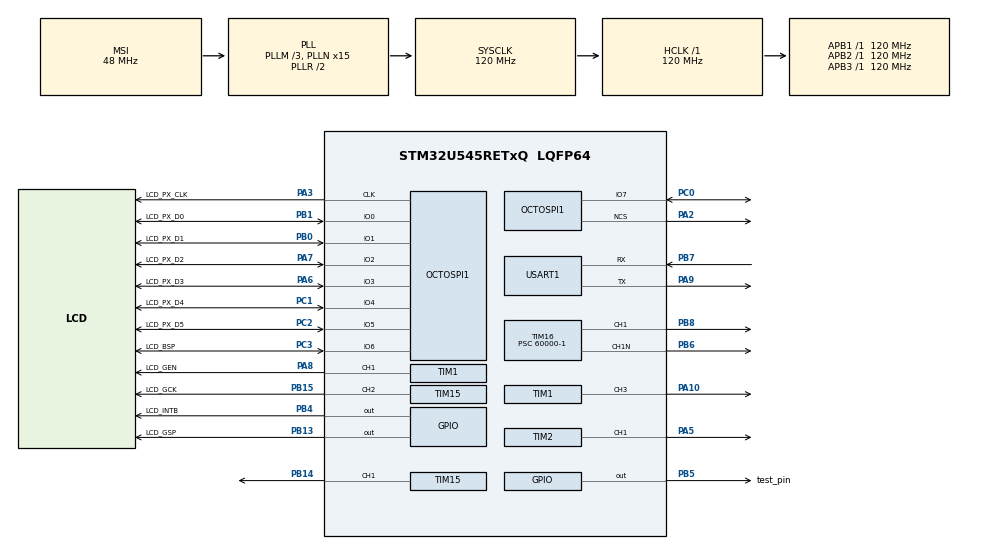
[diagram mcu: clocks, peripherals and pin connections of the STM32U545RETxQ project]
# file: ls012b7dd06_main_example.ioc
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CORTEX_M33_NS.userName=CORTEX_M33
GPDMA1.ADDRESSING2D_GPDMACH12=DISABLE
GPDMA1.DIRECTION_GPDMACH12=DMA_MEMORY_TO_PERIPH
GPDMA1.IPHANDLE_GPDMACH12-SIMPLEREQUEST_GPDMACH12=__NULL
GPDMA1.REPEATCOUNT_GPDMACH12=2
GPDMA1.REQUEST_GPDMACH12=GPDMA1_REQUEST_OCTOSPI1
GPDMA1.SRCINC_GPDMACH12=DMA_SINC_INCREMENTED
GPDMA1.TRIGGERPOLARITY_GPDMACH12=DMA_TRIG_POLARITY_RISING
GPDMA1.TRIGGERSELECTION_GPDMACH12=GPDMA1_TRIGGER_TIM15_TRGO
Mcu.Family=STM32U5
Mcu.Name=STM32U545RETxQ
Mcu.Package=LQFP64
NVIC.GPDMA1_Channel12_IRQn=true\:0\:0\:false\:false\:true\:false\:true\:true
NVIC.OCTOSPI1_IRQn=true\:0\:0\:true\:false\:true\:true\:true\:true
NVIC.PriorityGroup=NVIC_PRIORITYGROUP_4
NVIC.TIM15_IRQn=true\:0\:0\:false\:false\:true\:true\:true\:true
NVIC.TIM1_CC_IRQn=true\:0\:0\:false\:false\:true\:true\:true\:true
NVIC.TIM2_IRQn=true\:0\:0\:false\:false\:true\:true\:true\:true
NVIC.TIM6_IRQn=true\:0\:0\:false\:false\:true\:true\:true\:true
OCTOSPI1.ClockMode=HAL_OSPI_CLOCK_MODE_0
OCTOSPI1.ClockPrescaler=100
OCTOSPI1.DelayHoldQuarterCycle=HAL_OSPI_DHQC_ENABLE
OCTOSPI1.FreeRunningClock=HAL_OSPI_FREERUNCLK_DISABLE
PA10.GPIO_PuPd=GPIO_PULLDOWN
PA10.Signal=S_TIM1_CH3
PA2.GPIO_PuPd=GPIO_PULLDOWN
PA2.Mode=octo_mode
PA2.Signal=OCTOSPI1_NCS
PA3.GPIO_Label=LCD_PX_CLK
PA3.GPIO_PuPd=GPIO_PULLDOWN
PA3.Mode=octo_mode
PA3.Signal=OCTOSPI1_CLK
PA5.GPIO_PuPd=GPIO_PULLDOWN
PA5.Signal=S_TIM2_CH1
PA6.GPIO_Label=LCD_PX_D3
PA6.GPIO_PuPd=GPIO_PULLDOWN
PA6.Mode=octo_mode
PA6.Signal=OCTOSPI1_IO3
PA7.GPIO_Label=LCD_PX_D2
PA7.GPIO_PuPd=GPIO_PULLDOWN
PA7.Mode=octo_mode
PA7.Signal=OCTOSPI1_IO2
PA8.GPIO_Label=LCD_GEN
PA8.GPIO_PuPd=GPIO_PULLDOWN
PA8.Signal=S_TIM1_CH1
PA9.Mode=Asynchronous
PA9.Signal=USART1_TX
PB0.GPIO_Label=LCD_PX_D1
PB0.GPIO_PuPd=GPIO_PULLDOWN
PB0.Mode=octo_mode
PB0.Signal=OCTOSPI1_IO1
PB1.GPIO_Label=LCD_PX_D0
PB1.GPIO_PuPd=GPIO_PULLDOWN
PB1.Mode=octo_mode
PB1.Signal=OCTOSPI1_IO0
PB13.GPIO_Label=LCD_GSP
PB13.Signal=GPIO_Output
PB14.GPIO_PuPd=GPIO_PULLDOWN
PB14.Signal=S_TIM15_CH1
PB15.GPIO_Label=LCD_GCK
PB15.GPIO_PuPd=GPIO_PULLDOWN
PB15.Signal=S_TIM15_CH2
PB4\ (NJTRST).GPIO_Label=LCD_INTB
PB4\ (NJTRST).Signal=GPIO_Output
PB5.GPIO_Label=test_pin
PB5.GPIO_PuPd=GPIO_NOPULL
PB5.Signal=GPIO_Output
PB6.GPIO_PuPd=GPIO_PULLDOWN
PB6.Mode=Output Compare1 CH1 CH1N
PB6.Signal=TIM16_CH1N
PB7.Mode=Asynchronous
PB7.Signal=USART1_RX
PB8.GPIO_PuPd=GPIO_PULLDOWN
PB8.Signal=S_TIM16_CH1
PC0.GPIO_PuPd=GPIO_PULLDOWN
PC0.Mode=octo_mode
PC0.Signal=OCTOSPI1_IO7
PC1.GPIO_Label=LCD_PX_D4
PC1.GPIO_PuPd=GPIO_PULLDOWN
PC1.Mode=octo_mode
PC1.Signal=OCTOSPI1_IO4
PC2.GPIO_Label=LCD_PX_D5
PC2.GPIO_PuPd=GPIO_PULLDOWN
PC2.Mode=octo_mode
PC2.Signal=OCTOSPI1_IO5
PC3.GPIO_Label=LCD_BSP
PC3.GPIO_PuPd=GPIO_PULLDOWN
PC3.Mode=octo_mode
PC3.Signal=OCTOSPI1_IO6
ProjectManager.HeapSize=0x200
ProjectManager.StackSize=0x400
ProjectManager.TargetToolchain=STM32CubeIDE
RCC.ADCFreq_Value=16000000
RCC.AHBFreq_Value=120000000
RCC.APB1Freq_Value=120000000
RCC.APB1TimFreq_Value=120000000
RCC.APB2Freq_Value=120000000
RCC.APB2TimFreq_Value=120000000
RCC.APB3Freq_Value=120000000
RCC.CortexFreq_Value=120000000
RCC.DACCLockSelectionVirtual=RCC_DAC1CLKSOURCE_LSI
RCC.DACCLockSelectionVirtualString=RCC_DAC1CLKSOURCE_LSI
RCC.EPOD_VALUE=48000000
RCC.HCLKFreq_Value=120000000
RCC.HSE_VALUE=16000000
RCC.HSI48_VALUE=48000000
RCC.HSI_VALUE=16000000
RCC.LSE_VALUE=32768
RCC.LSIDIV_VALUE=32000
RCC.MSIClockRange=RCC_MSIRANGE_0
RCC.MSI_VALUE=48000000
RCC.PLL2FRACN=0
RCC.PLL3FRACN=0
RCC.PLLFRACN=0
RCC.PLLM=3
RCC.PLLN=15
RCC.SYSCLKFreq_VALUE=120000000
RCC.SYSCLKSource=RCC_SYSCLKSOURCE_PLLCLK
RCC.USBFreq_Value=48000000
RCC.VCOOutputFreq_Value=240000000
SH.S_TIM15_CH1.0=TIM15_CH1,PWM Generation1 CH1
SH.S_TIM15_CH2.0=TIM15_CH2,Output Compare2 CH2
SH.S_TIM16_CH1.0=TIM16_CH1,Output Compare1 CH1 CH1N
SH.S_TIM1_CH1.0=TIM1_CH1,PWM Generation1 CH1
SH.S_TIM1_CH3.0=TIM1_CH3,PWM Generation3 CH3
SH.S_TIM2_CH1.0=TIM2_CH1,PWM Generation1 CH1
TIM1.Channel-PWM\ Generation1\ CH1=TIM_CHANNEL_1
TIM1.Channel-PWM\ Generation2\ No\ Output=TIM_CHANNEL_2
TIM1.Channel-PWM\ Generation3\ CH3=TIM_CHANNEL_3
TIM1.OC1Preload_PWM=ENABLE
TIM1.OC3Preload_PWM=ENABLE
TIM1.OCMode_PWM-PWM\ Generation1\ CH1=TIM_OCMODE_COMBINED_PWM2
TIM1.OCMode_PWM-PWM\ Generation2\ No\ Output=TIM_OCMODE_PWM1
TIM1.OCMode_PWM-PWM\ Generation3\ CH3=TIM_OCMODE_PWM2
TIM1.OCPolarity_1=TIM_OCPOLARITY_HIGH
TIM1.OCPolarity_2=TIM_OCPOLARITY_LOW
TIM1.OCPolarity_3=TIM_OCPOLARITY_HIGH
TIM1.PeriodNoDither=204-1
TIM1.Prescaler=40-1
TIM1.PulseNoDither_1=136
TIM1.PulseNoDither_2=166
TIM1.PulseNoDither_3=85
TIM1.RepetitionCounter=480
TIM1.TIM_MasterOutputTrigger=TIM_TRGO_OC3REF
TIM1.TIM_MasterOutputTrigger2=TIM_TRGO2_RESET
TIM1.TIM_MasterSlaveMode=TIM_MASTERSLAVEMODE_DISABLE
TIM15.Channel-Output\ Compare2\ CH2=TIM_CHANNEL_2
TIM15.Channel-PWM\ Generation1\ CH1=TIM_CHANNEL_1
TIM15.OC2Preload=ENABLE
TIM15.OCMode_2=TIM_OCMODE_TOGGLE
TIM15.OCPolarity_1=TIM_OCPOLARITY_HIGH
TIM15.OCPolarity_2=TIM_OCPOLARITY_LOW
TIM15.PeriodNoDither=192-1
TIM15.Prescaler=40-1
TIM15.PulseNoDither_1=95
TIM15.PulseNoDither_2=96
TIM15.RepetitionCounter=2
TIM15.TIM_MasterOutputTrigger=TIM_TRGO_OC1
TIM16.Channel=TIM_CHANNEL_1
TIM16.OCMode_1=TIM_OCMODE_TOGGLE
TIM16.OCNPolarity_1=TIM_OCNPOLARITY_LOW
TIM16.OCPolarity_1=TIM_OCPOLARITY_LOW
TIM16.PeriodNoDither=100-1
TIM16.Prescaler=60000-1
TIM16.PulseNoDither_1=50
TIM2.Channel-PWM\ Generation1\ CH1=TIM_CHANNEL_1
TIM2.OCPolarity_1=TIM_OCPOLARITY_HIGH
TIM2.PeriodNoDither=200-1
TIM2.Prescaler=6-1
TIM2.PulseNoDither_1=101
TIM2.TIM_MasterOutputTrigger=TIM_TRGO_OC1
TIM6.PeriodNoDither=200-1
TIM6.Prescaler=6-1
USART1.VirtualMode-Asynchronous=VM_ASYNC
VP_GPDMA1_VS_GPDMACH12.Mode=SIMPLEREQUEST_GPDMACH12
VP_ICACHE_VS_ICACHE.Mode=DirectMappedCache
VP_LPBAMQUEUE_VS_QUEUE.Mode=QUEUEMODE
VP_LPBAM_VS_SIG1.Mode=SmartRun
VP_LPBAM_VS_SIG4.Mode=LPDMA1
VP_MEMORYMAP_VS_MEMORYMAP.Mode=CurAppReg
VP_PWR_VS_LPOM.Mode=PowerOptimisation
VP_PWR_VS_SECSignals.Mode=Security/Privilege
VP_PWR_V_PVD_IN.Mode=Mode_PVD_Int
VP_TIM15_VS_ClockSourceINT.Mode=Internal
VP_TIM15_VS_ClockSourceITR.Mode=TriggerSource_ITR0
VP_TIM15_VS_ControllerModeCombinedResetTrigger.Mode=Combined_Reset_Trigger_Mode
VP_TIM15_VS_OPM.Mode=OPM_bit
VP_TIM16_VS_ClockSourceINT.Mode=Enable_Timer
VP_TIM1_VS_ClockSourceINT.Mode=Internal
VP_TIM1_VS_OPM.Mode=OPM_bit
VP_TIM1_VS_no_output2.Mode=PWM Generation2 No Output
VP_TIM2_VS_ClockSourceINT.Mode=Internal
VP_TIM6_VS_ClockSourceINT.Mode=Enable_Timer
board=custom

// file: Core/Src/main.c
/* USER CODE BEGIN Header */
/**
  ******************************************************************************
  * @file           : main.c
  * @brief          : Main program body
  ******************************************************************************
  * @attention
  *
  * Copyright (c) 2024 STMicroelectronics.
  * All rights reserved.
  *
  * This software is licensed under terms that can be found in the LICENSE file
  * in the root directory of this software component.
  * If no LICENSE file comes with this software, it is provided AS-IS.
  *
  ******************************************************************************
  */
/* USER CODE END Header */
#include "main.h"
#include "gpdma.h"
#include "icache.h"
#include "memorymap.h"
#include "octospi.h"
#include "tim.h"
#include "usart.h"
#include "gpio.h"

/* USER CODE BEGIN Includes */
#include <stdio.h>	// for sprintf()

#include "../ls012b7dd06_stm32_lib/ls012b7dd06_config.h"
#include "../ls012b7dd06_stm32_lib/ls012b7dd06.h"
/* USER CODE END Includes */

/* USER CODE BEGIN PV */

uint8_t lcd_buf_1[OUT_DATA_BUF_SIZE] = {0};

char uart_msg_buf[256] = "No error.\r\n";
char hal_status_str[4][12] = {"HAL_OK\0", "HAL_ERROR\0", "HAL_BUSY\0", "HAL_TIMEOUT\0"};

/* USER CODE END PV */

void SystemClock_Config(void);
static void SystemPower_Config(void);

int main(void)
{

  /* MCU Configuration--------------------------------------------------------*/

  /* Reset of all peripherals, Initializes the Flash interface and the Systick. */
  HAL_Init();

  /* Configure the system clock */
  SystemClock_Config();

  /* Configure the System Power */
  SystemPower_Config();

  /* Initialize all configured peripherals */
  MX_GPIO_Init();
  MX_GPDMA1_Init();
  MX_ICACHE_Init();
  MX_OCTOSPI1_Init();
  MX_USART1_UART_Init();
  MX_TIM2_Init();
  MX_TIM1_Init();
  MX_TIM15_Init();
  MX_TIM6_Init();
  MX_TIM16_Init();
  /* USER CODE BEGIN 2 */

  HAL_StatusTypeDef lcd_status;
  lcd_init_t lcd_init = {
		  .hospi = &hospi1,
		  .hhalfline_tim = &htim15,
		  .hdelay_tim = &htim6,
		  .hadv_tim = &htim1,
		  .hpwr_tim = &htim16,
		  .hintb_port = LCD_INTB_GPIO_Port,
		  .intb_pin = LCD_INTB_Pin,
		  .buf1 = lcd_buf_1
  };

  LCD_init(0, &lcd_init);
  LCD_setActive(0);

  sprintf( uart_msg_buf, "OSPI after init status = 0x%08lX, OSPI error code = 0x%08lX\r\n",
  	  			hospi1.State, hospi1.ErrorCode );
  HAL_UART_Transmit( &huart1, (uint8_t *)uart_msg_buf, sizeof(uart_msg_buf), 10 );

  HAL_GPIO_TogglePin(test_pin_GPIO_Port, test_pin_Pin );
  HAL_Delay(50);
  HAL_GPIO_TogglePin(test_pin_GPIO_Port, test_pin_Pin );
  HAL_Delay(50);
  HAL_GPIO_TogglePin(test_pin_GPIO_Port, test_pin_Pin );
  HAL_Delay(50);
  HAL_GPIO_TogglePin(test_pin_GPIO_Port, test_pin_Pin );
  HAL_Delay(50);

  // Init frame
  LCD_cls();
  // LCD should not be busy yet,
  // so result checking can be avoided
  (void) LCD_displayFrame();

  HAL_Delay(50);

  LCD_PWM_power_enable();

  HAL_Delay(1000);

  // Draw a test figure
  LCD_drawTestFigure();

  do {
	  lcd_status = LCD_displayFrame();
	  HAL_Delay(1);
  } while (lcd_status != HAL_OK);

  HAL_Delay(5000);

  // Draw only a white square or line
  LCD_cls();
  lcd_colour_t colour;
  colour.val = COLOUR_WHITE;
//  LCD_drawSquare(60, 60, 140, 140, colour);
  LCD_drawLine(60, 60, 143, 167, colour);

  do {
  	  lcd_status = LCD_displayFrame();
  	  HAL_Delay(1);
  } while (lcd_status != HAL_OK);

  HAL_Delay(5000);

  // Shutdown frame
  LCD_cls();
  LCD_displayFrame();

  HAL_Delay(1000);

  LCD_PWM_power_disable();

  /* USER CODE END 2 */

  /* Infinite loop */
  while (1)
  {

  }
}

void SystemClock_Config(void)
{
  RCC_OscInitTypeDef RCC_OscInitStruct = {0};
  RCC_ClkInitTypeDef RCC_ClkInitStruct = {0};

  /** Configure the main internal regulator output voltage
  */
  if (HAL_PWREx_ControlVoltageScaling(PWR_REGULATOR_VOLTAGE_SCALE1) != HAL_OK)
  {
    Error_Handler();
  }

  /** Initializes the CPU, AHB and APB buses clocks
  */
  RCC_OscInitStruct.OscillatorType = RCC_OSCILLATORTYPE_MSI;
  RCC_OscInitStruct.MSIState = RCC_MSI_ON;
  RCC_OscInitStruct.MSICalibrationValue = RCC_MSICALIBRATION_DEFAULT;
  RCC_OscInitStruct.MSIClockRange = RCC_MSIRANGE_0;
  RCC_OscInitStruct.PLL.PLLState = RCC_PLL_ON;
  RCC_OscInitStruct.PLL.PLLSource = RCC_PLLSOURCE_MSI;
  RCC_OscInitStruct.PLL.PLLMBOOST = RCC_PLLMBOOST_DIV4;
  RCC_OscInitStruct.PLL.PLLM = 3;
  RCC_OscInitStruct.PLL.PLLN = 15;
  RCC_OscInitStruct.PLL.PLLP = 2;
  RCC_OscInitStruct.PLL.PLLQ = 2;
  RCC_OscInitStruct.PLL.PLLR = 2;
  RCC_OscInitStruct.PLL.PLLRGE = RCC_PLLVCIRANGE_1;
  RCC_OscInitStruct.PLL.PLLFRACN = 0;
  if (HAL_RCC_OscConfig(&RCC_OscInitStruct) != HAL_OK)
  {
    Error_Handler();
  }

  /** Initializes the CPU, AHB and APB buses clocks
  */
  RCC_ClkInitStruct.ClockType = RCC_CLOCKTYPE_HCLK|RCC_CLOCKTYPE_SYSCLK
                              |RCC_CLOCKTYPE_PCLK1|RCC_CLOCKTYPE_PCLK2
                              |RCC_CLOCKTYPE_PCLK3;
  RCC_ClkInitStruct.SYSCLKSource = RCC_SYSCLKSOURCE_PLLCLK;
  RCC_ClkInitStruct.AHBCLKDivider = RCC_SYSCLK_DIV1;
  RCC_ClkInitStruct.APB1CLKDivider = RCC_HCLK_DIV1;
  RCC_ClkInitStruct.APB2CLKDivider = RCC_HCLK_DIV1;
  RCC_ClkInitStruct.APB3CLKDivider = RCC_HCLK_DIV1;

  if (HAL_RCC_ClockConfig(&RCC_ClkInitStruct, FLASH_LATENCY_3) != HAL_OK)
  {
    Error_Handler();
  }
}

/**
  * @brief Power Configuration
  * @retval None
  */
static void SystemPower_Config(void)
{
  PWR_PVDTypeDef sConfigPVD = {0};

  /*
   * PVD Configuration
   */
  sConfigPVD.PVDLevel = PWR_PVDLEVEL_0;
  sConfigPVD.Mode = PWR_PVD_MODE_NORMAL;
  HAL_PWR_ConfigPVD(&sConfigPVD);

  /*
   * Enable the PVD Output
   */
  HAL_PWR_EnablePVD();
}

void Error_Handler(void)
{
  /* USER CODE BEGIN Error_Handler_Debug */
  HAL_UART_Transmit( &huart1, (uint8_t*)uart_msg_buf, sizeof(uart_msg_buf), 10 );
  /* User can add his own implementation to report the HAL error return state */
  __disable_irq();
  while (1)
  {
  }
  /* USER CODE END Error_Handler_Debug */
}
